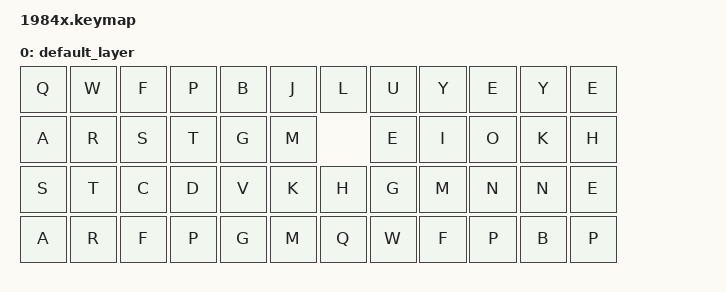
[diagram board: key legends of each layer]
/*
 * Copyright (c) 2020 The ZMK Contributors
 *
 * SPDX-License-Identifier: MIT
 */

#include <behaviors.dtsi>
#include <dt-bindings/zmk/keys.h>
#include <dt-bindings/zmk/bt.h>
#include <dt-bindings/zmk/ext_power.h>

#define DEFAULT 0
#define NUM     1
#define NAV     2
#define APP     3
#define SYSTEM  4

&caps_word {
  continue-list = <UNDERSCORE MINUS BACKSPACE DELETE>;
};

&mt {
  quick-tap-ms = <200>;
};

#define str(x) #x

#define SPACE_NUM(num) \
  space_num_##num: space_num_##num { \
    compatible = "zmk,behavior-macro"; \
    \#binding-cells = <0>; \
    bindings = <&macro_tap &kp SPACE &kp N##num>; \
  };

#define TMUX_NUM(num) \
  tmux_num_##num: tmux_num_##num { \
    compatible = "zmk,behavior-macro"; \
    \#binding-cells = <0>; \
    bindings = <&macro_press &kp LCTRL> \
             , <&macro_tap &kp S> \
             , <&macro_release &kp LCTRL> \
             , <&macro_tap &kp N##num>; \
  };

/ {
  macros {
    SPACE_NUM(0)
    SPACE_NUM(1)
    SPACE_NUM(2)
    SPACE_NUM(3)
    SPACE_NUM(4)
    SPACE_NUM(5)
    SPACE_NUM(6)
    SPACE_NUM(7)
    SPACE_NUM(8)
    SPACE_NUM(9)

    TMUX_NUM(0)
    TMUX_NUM(1)
    TMUX_NUM(2)
    TMUX_NUM(3)
    TMUX_NUM(4)
    TMUX_NUM(5)
    TMUX_NUM(6)
    TMUX_NUM(7)
    TMUX_NUM(8)
    TMUX_NUM(9)
  };

  conditional_layers {
    compatible = "zmk,conditional-layers";
    tri_layer {
      if-layers = <NUM NAV>;
      then-layer = <APP>;
    };
  };

  behaviors {
    lalt_gresc: grave_escape {
      compatible = "zmk,behavior-mod-morph";
      #binding-cells = <0>;
      bindings = <&mt LALT ESC>, <&kp GRAVE>;
      mods = <(MOD_LGUI)>;
      keep-mods = <(MOD_LGUI)>;
    };

    vol_up: vol_up {
      compatible = "zmk,behavior-mod-morph";
      #binding-cells = <0>;
      bindings = <&kp C_VOL_UP>, <&kp C_BRI_UP>;
      mods = <(MOD_LGUI|MOD_LSFT|MOD_RGUI|MOD_RSFT|MOD_LALT|MOD_RALT)>;
    };

    vol_dn: vol_dn {
      compatible = "zmk,behavior-mod-morph";
      #binding-cells = <0>;
      bindings = <&kp C_VOL_DN>, <&kp C_BRI_DN>;
      mods = <(MOD_LGUI|MOD_LSFT|MOD_RGUI|MOD_RSFT|MOD_LALT|MOD_RALT)>;
    };

    hm: homerow_mods {
      compatible = "zmk,behavior-hold-tap";
      #binding-cells = <2>;
      tapping-term-ms = <250>;
      quick-tap-ms = <200>;
      flavor = "tap-preferred";
      bindings = <&kp>, <&kp>;
    };

    sftent: sftent {
      compatible = "zmk,behavior-hold-tap";
      #binding-cells = <2>;
      tapping-term-ms = <150>;
      quick-tap-ms = <75>;
      flavor = "hold-preferred";
      bindings = <&kp>, <&kp>;
    };

    hmt: homerow_mods_no_quicktap {
      compatible = "zmk,behavior-hold-tap";
      #binding-cells = <2>;
      tapping-term-ms = <200>;
      quick-tap-ms = <75>;
      require-prior-idle-ms = <50>;
      flavor = "hold-preferred";
      bindings = <&kp>, <&kp>;
    };

    lhp: layer_hold_prefered {
      compatible = "zmk,behavior-hold-tap";
      #binding-cells = <2>;
      tapping-term-ms = <150>;
      flavor = "hold-preferred";
      bindings = <&mo>, <&kp>;
    };

    nav_caps: nav_caps {
      compatible = "zmk,behavior-tap-dance";
      #binding-cells = <0>;
      tapping-term-ms = <200>;
      bindings = <&mo NAV>, <&caps_word>, <&kp CAPS>;
    };
  };

  /*combos {
    compatible = "zmk,combos";

    #define COMBO(NAME, BINDINGS, KEYPOS, LAYERS) \
      combo_##NAME { \
        bindings = <BINDINGS>; \
        key-positions = <KEYPOS>; \
        layers = <LAYERS>; \
      };

    //  ╭──────────────────────────╮          ╭──────────────────────────╮
    //  │   0   1   2   3   4   5  │          │  6   7   8   9   10  11  │
    //  │  12  13  14  15  16  17  │          │     18  19  20   21  22  │
    //  │  23  24  25  26  27  28  │          │ 29  30  31  32   33  34  │
    //  │  35  36  37  38  39  40  │          │ 41  42  43  44   45  46  │
    //  ╰──────────────────────────╯          ╰──────────────────────────╯

    // COMBO(caps_word, &caps_word, 30 33, DEFAULT)
  };*/

  keymap {
    compatible = "zmk,keymap";

    default_layer {
      bindings = <
   &kp Q            &kp W            &kp F            &kp P            &kp B              &kp J            &kp L            &kp U            &kp Y            &kp E           &kp Y            &kp E
   &kp A            &kp R            &kp S            &kp T            &kp G              &kp M                             &kp E            &kp I            &kp O           &kp K            &kp H 
   &kp S            &kp T            &kp C            &kp D            &kp V              &kp K            &kp H            &kp G            &kp M            &kp N           &kp N            &kp E
   &kp A            &kp R            &kp F            &kp P            &kp G              &kp M            &kp Q            &kp W            &kp F            &kp P           &kp B            &kp P  
      >;
    };
  };
};
